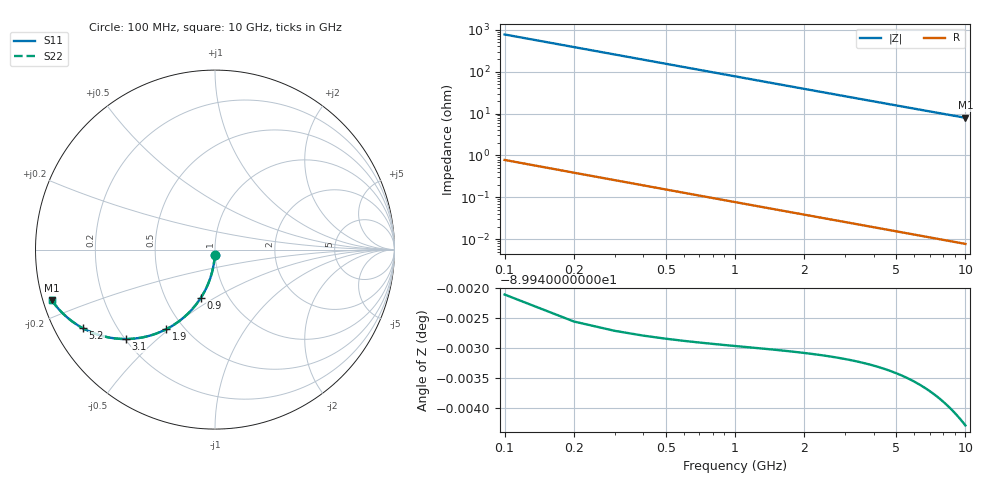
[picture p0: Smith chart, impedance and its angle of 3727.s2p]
# Hz S RI R 50.00
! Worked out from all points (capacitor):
!   100 points, 100 MHz to 10 GHz, reference 50 ohm
!   read as one part in shunt: C = 2.06 pF near 100 MHz
!   lowest |Z| = 7.94 ohm at 10 GHz (marker M1)
!   S11 on the Smith chart (normalised r, x): 100 MHz: 1.00, -0.06; 900 MHz: 0.75, -0.43; 1.9 GHz: 0.40, -0.49; 3.1 GHz: 0.20, -0.40; 5.2 GHz: 0.08, -0.27; 10 GHz: 0.02, -0.15
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1e8  -0.00107 -0.0323  0.9989 -0.0323  0.9989 -0.0323  -0.00107 -0.0323
2e8  -0.00422 -0.0643  0.9958 -0.0645  0.9958 -0.0645  -0.00422 -0.0643
3e8  -0.00941 -0.0959  0.9906 -0.0962  0.9906 -0.0962  -0.00941 -0.0959
4e8  -0.0166 -0.127  0.9834 -0.1273  0.9834 -0.1273  -0.0166 -0.127
5e8  -0.0256 -0.1572  0.9744 -0.1576  0.9744 -0.1576  -0.0256 -0.1572
6e8  -0.0364 -0.1865  0.9636 -0.187  0.9636 -0.187  -0.0364 -0.1865
7e8  -0.0488 -0.2147  0.9512 -0.2153  0.9512 -0.2153  -0.0488 -0.2147
9e8  -0.0781 -0.2674  0.9219 -0.2682  0.9219 -0.2682  -0.0781 -0.2674
1.1e9  -0.1122 -0.3146  0.8878 -0.3156  0.8878 -0.3156  -0.1122 -0.3146
1.3e9  -0.1498 -0.3558  0.8502 -0.3569  0.8502 -0.3569  -0.1498 -0.3558
1.5e9  -0.1898 -0.391  0.8102 -0.3923  0.8102 -0.3923  -0.1898 -0.391
1.8e9  -0.2519 -0.4328  0.7481 -0.4344  0.7481 -0.4344  -0.2519 -0.4328
1.9e9  -0.2727 -0.444  0.7273 -0.4456  0.7273 -0.4456  -0.2727 -0.444
2.5e9  -0.3927 -0.4868  0.6073 -0.4889  0.6073 -0.4889  -0.3927 -0.4868
3.1e9  -0.4978 -0.4981  0.5022 -0.5008  0.5022 -0.5008  -0.4978 -0.4981
3.4e9  -0.5435 -0.4961  0.4565 -0.4991  0.4565 -0.4991  -0.5435 -0.4961
4.2e9  -0.6442 -0.4764  0.3558 -0.4801  0.3558 -0.4801  -0.6442 -0.4764
5.1e9  -0.7269 -0.4428  0.2731 -0.4473  0.2731 -0.4473  -0.7269 -0.4428
5.2e9  -0.7344 -0.4388  0.2655 -0.4434  0.2655 -0.4434  -0.7344 -0.4388
6.7e9  -0.8206 -0.3802  0.1793 -0.3861  0.1793 -0.3861  -0.8206 -0.3802
8.4e9  -0.8777 -0.3234  0.1223 -0.3309  0.1223 -0.3309  -0.8777 -0.3234
1e10  -0.9104 -0.2806  0.0895 -0.2896  0.0895 -0.2896  -0.9104 -0.2806
